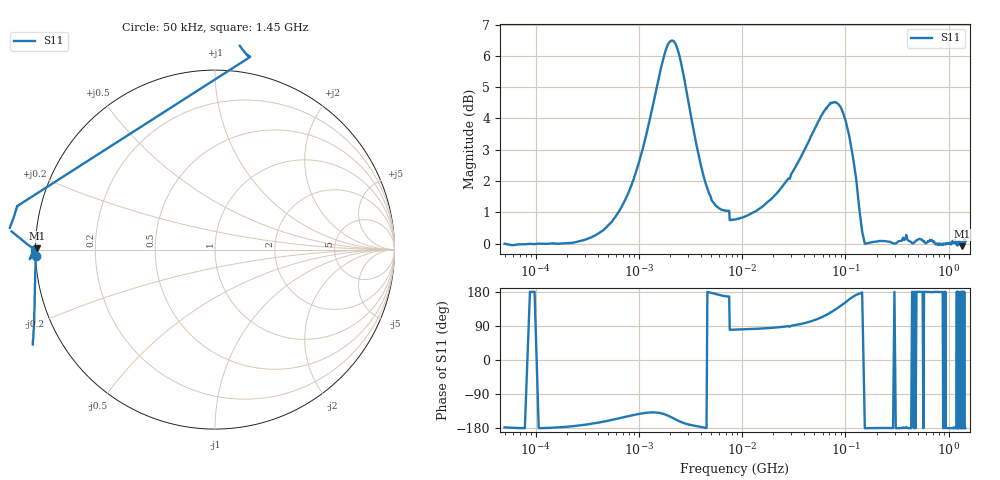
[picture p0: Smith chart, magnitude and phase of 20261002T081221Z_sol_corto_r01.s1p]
! prueba_sol / sol_corto / r01
# HZ S RI R 50
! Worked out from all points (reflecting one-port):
!   501 points, 50 kHz to 1.45 GHz, reference 50 ohm
!   lowest |S11| = -0.1 dB at 1.347 GHz (marker M1), VSWR 232.17, Z = 0.215 + j0.169 ohm
!   phase of S11 starts at -178 deg and turns -2 deg over the sweep
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50000  -0.9999 -0.0359
183000  -1.001 -0.0519
354000  -1.004 -0.2147
658000  -1.014 -0.5104
1180000  -1.134 -0.9743
1630000  -1.467 -1.214
1990000  -1.803 -1.081
2170000  -1.898 -0.9141
2440000  -1.902 -0.6471
3070000  -1.634 -0.2695
4330000  -1.264 -0.0306
7300000  -1.102 0.2424
7750000  0.1946 1.074
8560000  0.1872 1.078
1.9e7  0.1099 1.173
3.16e7  -0.0346 1.312
4.69e7  -0.323 1.455
6.76e7  -0.8604 1.418
7.93e7  -1.14 1.24
9.37e7  -1.353 0.8995
9.82e7  -1.385 0.7831
1e8  -1.392 0.7374
1.18e8  -1.34 0.3164
1.36e8  -1.134 0.1015
1.63e8  -1.002 -0.00336
4.06e8  -1.012 -0.00165
1.3465e9  -0.9914 0.0067
1.45e9  -1.01 -0.00701
